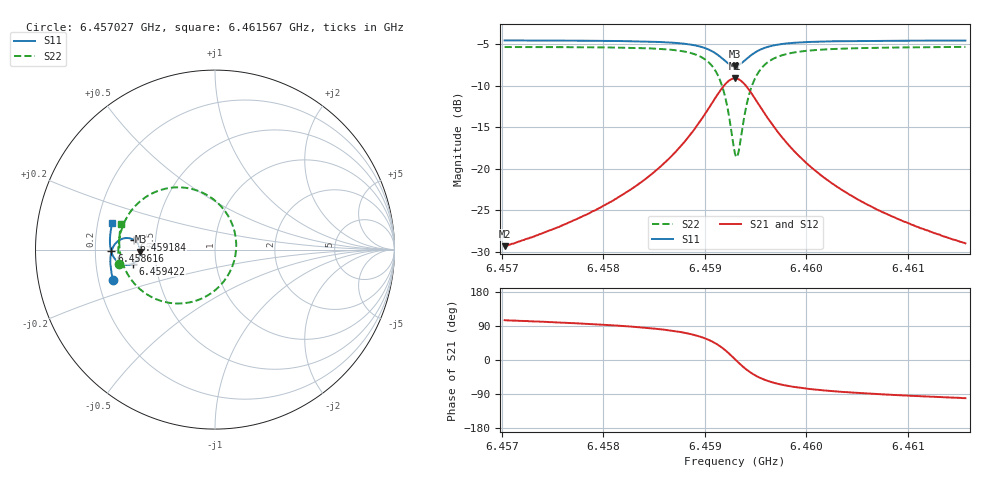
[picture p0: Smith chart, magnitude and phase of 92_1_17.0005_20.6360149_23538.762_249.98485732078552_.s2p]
#  HZ  S  RI  R  50.00
! Rohde & Schwarz Vector Network Analyzer
! Rohde-Schwarz,ZNB20-2Port,1311601062101988,3.16
! Created: UTC 3/20/2024, 10:56:10 PM
! freq[Hz]  re:S11  im:S11  re:S21  im:S21  re:S12  im:S12  re:S22  im:S22
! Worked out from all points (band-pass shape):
!   401 points, 6.457027 GHz to 6.461567 GHz, reference 50 ohm
!   highest |S21| = -9.12 dB at 6.459297 GHz (marker M1); lowest = -29.3 dB at 6.457027 GHz (marker M2)
!   |S21| within 3 dB of the highest: 6.45907 GHz to 6.459524 GHz (453.6 kHz wide, 0.00702 % of centre)
!   lowest |S11| = -7.6 dB at 6.459297 GHz (marker M3), VSWR 2.42, Z = 20.7 - j0.539 ohm
!   |S11| at or under -10 dB: nowhere
!   |S22| runs from -18.6 to -5.3 dB; largest |S21 - S12| = 0.014
!   S11 on the Smith chart (normalised r, x): 6.457027 GHz: 0.26, -0.14; 6.458616 GHz: 0.27, -0.01; 6.459184 GHz: 0.38, +0.05; 6.459422 GHz: 0.37, -0.07; 6.461567 GHz: 0.26, +0.12
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6.4570275e9  -0.5671 -0.1697  -0.00888 0.033  -0.00708 0.0329  -0.5343 -0.0796
6.4577879e9  -0.5807 -0.103  -0.00529 0.051  -0.00288 0.0503  -0.5387 0.0103
6.4582079e9  -0.5835 -0.0606  0.000703 0.0708  0.00394 0.0694  -0.53 0.0776
6.4585484e9  -0.5794 -0.0195  0.0149 0.1  0.0188 0.0972  -0.5037 0.1554
6.4586165e9  -0.5772 -0.00995  0.0202 0.1084  0.0243 0.1052  -0.4935 0.1754
6.4588094e9  -0.5642 0.0206  0.0472 0.1397  0.0513 0.1347  -0.4428 0.2448
6.458957e9  -0.5412 0.0469  0.0933 0.1704  0.0964 0.1637  -0.3579 0.3092
6.4590932e9  -0.4967 0.0644  0.1818 0.1868  0.1826 0.1795  -0.1964 0.3468
6.459184e9  -0.4514 0.0537  0.2728 0.1546  0.2731 0.1488  -0.0284 0.2941
6.4592521e9  -0.4221 0.0208  0.3334 0.0812  0.3358 0.076  0.0872 0.1618
6.4592975e9  -0.4151 -0.0108  0.3498 0.0124  0.3534 0.00537  0.1183 0.0331
6.4593088e9  -0.4156 -0.019  0.3492 -0.00578  0.3533 -0.0132  0.1175 -0.001
6.4593315e9  -0.4193 -0.0349  0.3434 -0.0408  0.3473 -0.0499  0.1054 -0.0673
6.4593769e9  -0.4352 -0.0613  0.314 -0.1011  0.3163 -0.1131  0.046 -0.181
6.4594223e9  -0.4576 -0.0778  0.2712 -0.1421  0.2703 -0.1556  -0.0407 -0.2555
6.4595131e9  -0.5016 -0.0848  0.1855 -0.1731  0.1791 -0.1846  -0.2115 -0.3003
6.4596607e9  -0.546 -0.0642  0.0968 -0.1587  0.0882 -0.1648  -0.3796 -0.2492
6.4598309e9  -0.5688 -0.0347  0.0493 -0.1284  0.0419 -0.131  -0.4638 -0.1715
6.4600579e9  -0.5807 -0.00107  0.0224 -0.0982  0.0165 -0.0989  -0.5079 -0.0931
6.4603984e9  -0.5855 0.0398  0.00628 -0.0712  0.00218 -0.0707  -0.5293 -0.0139
6.4608183e9  -0.5836 0.0822  -0.0015 -0.0525  -0.00438 -0.0516  -0.5332 0.0541
6.4615674e9  -0.5719 0.1487  -0.00656 -0.0349  -0.00825 -0.034  -0.5221 0.1434
